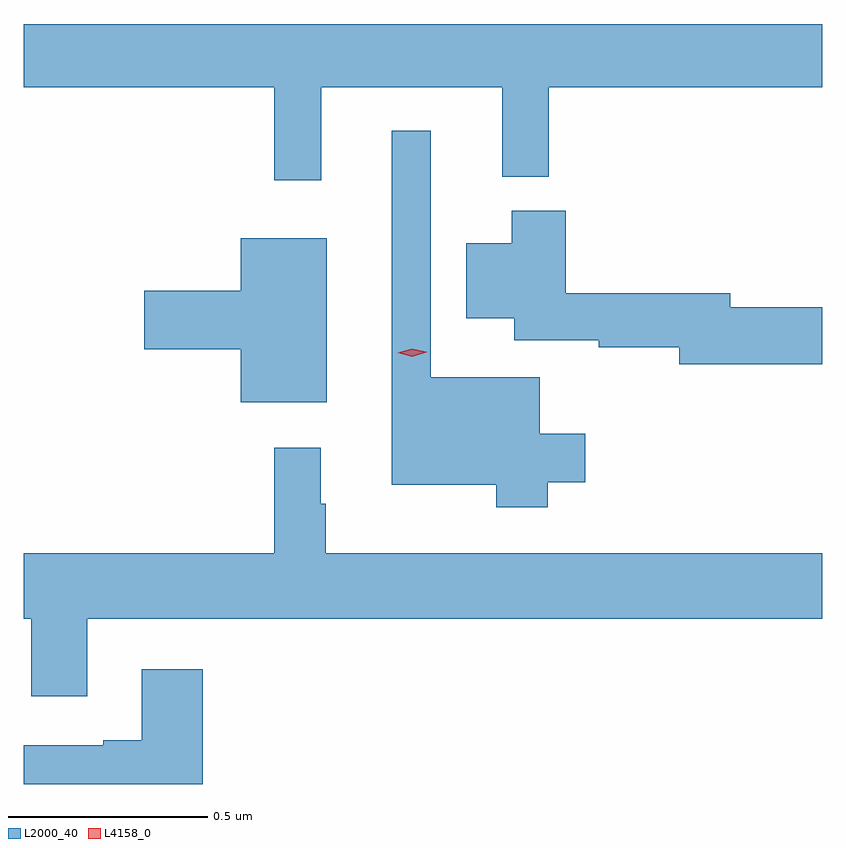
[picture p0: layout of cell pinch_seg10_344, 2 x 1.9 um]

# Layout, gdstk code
import gdstk
lib = gdstk.Library(unit=1e-6, precision=1e-09)
def P(c, l, *ps):  # polygons
    for p in ps: c.add(gdstk.Polygon(p, *l))
L2000_40 = (2000, 40)
L4158_0 = (4158, 0)

pinch_seg10_344 = lib.new_cell('pinch_seg10_344')
P(pinch_seg10_344, L2000_40, [(412.421,1275.008),(412.874,1275.008),(412.874,1274.783),(412.991,1274.783),(412.991,1275.008),(413.676,1275.008),(413.676,1275.166),(411.676,1275.166),(411.676,1275.008),(412.303,1275.008),(412.303,1274.775),(412.421,1274.775)],
  [(412.988,1274.018),(413.083,1274.018),(413.083,1274.14),(412.969,1274.14),(412.969,1274.281),(412.695,1274.281),(412.695,1274.899),(412.598,1274.899),(412.598,1274.012),(412.86,1274.012),(412.86,1273.955),(412.988,1273.955)],
  [(413.676,1274.456),(413.446,1274.456),(413.446,1274.492),(413.033,1274.492),(413.033,1274.698),(412.898,1274.698),(412.898,1274.617),(412.784,1274.617),(412.784,1274.429),(412.904,1274.429),(412.904,1274.374),(413.116,1274.374),(413.116,1274.356),(413.318,1274.356),(413.318,1274.314),(413.676,1274.314)],
  [(412.435,1274.629),(412.22,1274.629),(412.22,1274.498),(411.978,1274.498),(411.978,1274.351),(412.22,1274.351),(412.22,1274.219),(412.435,1274.219)],
  [(411.835,1273.676),(413.676,1273.676),(413.676,1273.84),(412.432,1273.84),(412.432,1273.964),(412.42,1273.964),(412.42,1274.104),(412.303,1274.104),(412.303,1273.84),(411.676,1273.84),(411.676,1273.676),(411.695,1273.676),(411.695,1273.482),(411.835,1273.482)],
  [(412.124,1273.549),(411.971,1273.549),(411.971,1273.372),(411.875,1273.372),(411.875,1273.359),(411.676,1273.359),(411.676,1273.262),(412.124,1273.262)])
P(pinch_seg10_344, L4158_0, [(412.649,1274.333),(412.613,1274.342),(412.613,1274.342),(412.613,1274.342),(412.648,1274.353),(412.684,1274.345),(412.685,1274.344),(412.684,1274.344)])

lib.write_gds('pinch_seg10_344.gds')
